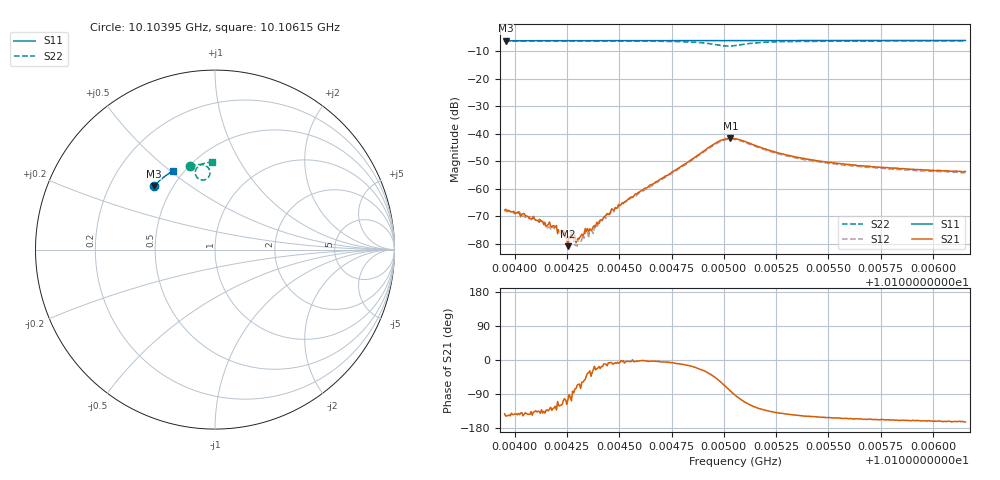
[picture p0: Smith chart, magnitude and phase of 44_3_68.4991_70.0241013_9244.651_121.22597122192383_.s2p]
#  HZ  S  RI  R  50.00
! Rohde & Schwarz Vector Network Analyzer
! Rohde-Schwarz,ZNB20-2Port,1311601062101988,3.16
! Created: UTC 3/20/2024, 4:50:34 PM
! freq[Hz]  re:S11  im:S11  re:S21  im:S21  re:S12  im:S12  re:S22  im:S22
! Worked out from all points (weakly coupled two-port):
!   401 points, 10.10395 GHz to 10.10615 GHz, reference 50 ohm
!   highest |S21| = -41.66 dB at 10.10503 GHz (marker M1); lowest = -80.9 dB at 10.10426 GHz (marker M2)
!   lowest |S11| = -6.2 dB at 10.10396 GHz (marker M3), VSWR 2.93, Z = 19.7 + j18.4 ohm
!   |S11| at or under -10 dB: nowhere
!   |S22| runs from -8.1 to -6.2 dB; largest |S21 - S12| = 0.00084
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1.0103953e10  -0.3405 0.354  -0.000323 -0.000252  -0.00029 -0.000261  -0.1379 0.4633
1.0103958e10  -0.3401 0.3543  -0.000357 -0.000222  -0.000299 -0.000258  -0.1375 0.4636
1.0104112e10  -0.3337 0.3611  -0.000183 -0.000185  -0.000208 -0.000171  -0.1266 0.4669
1.0104162e10  -0.3316 0.3632  -0.000158 -0.000161  -0.000114 -0.000165  -0.123 0.4679
1.0104189e10  -0.3303 0.3644  -0.000125 -0.000169  -8.98e-05 -0.000163  -0.121 0.4686
1.0104239e10  -0.3281 0.3666  -3.35e-05 -0.000155  -5.51e-05 -0.000123  -0.1172 0.4695
1.0104255e10  -0.3274 0.3672  -2.27e-05 -8.7e-05  -6.31e-06 -0.000146  -0.1157 0.4699
1.0104277e10  -0.3264 0.3681  1.78e-05 -0.000132  2.75e-05 -0.000129  -0.1142 0.4702
1.0104294e10  -0.3258 0.3689  2.59e-05 -0.0001  1.48e-06 -9.31e-05  -0.1127 0.4706
1.0104321e10  -0.3245 0.3702  7.66e-05 -0.000128  6.83e-05 -9.6e-05  -0.1105 0.471
1.0104338e10  -0.3237 0.3707  0.000118 -0.000146  0.000127 -9.28e-05  -0.1092 0.4713
1.0104365e10  -0.3225 0.3718  0.000128 -0.000119  0.00017 -5.67e-05  -0.107 0.4717
1.0104415e10  -0.3204 0.3739  0.000256 -7.85e-05  0.00027 -4.8e-05  -0.1026 0.4725
1.0104492e10  -0.3168 0.3771  0.000453 -4.47e-05  0.000443 1.06e-05  -0.0954 0.4736
1.010469e10  -0.3079 0.3851  0.00143 -8.85e-05  0.00138 2.4e-05  -0.0725 0.4738
1.010496e10  -0.295 0.3955  0.00462 -0.00486  0.00482 -0.00427  -0.0298 0.4165
1.0105031e10  -0.2918 0.3978  0.00119 -0.00817  0.00187 -0.00769  -0.0711 0.3874
1.0105053e10  -0.2908 0.3986  -0.000323 -0.00811  0.00035 -0.0078  -0.0872 0.3915
1.010524e10  -0.2823 0.4059  -0.00347 -0.00316  -0.00305 -0.00332  -0.1002 0.4564
1.0105422e10  -0.2733 0.4125  -0.00285 -0.0017  -0.00259 -0.00186  -0.0787 0.4732
1.0105791e10  -0.2551 0.4253  -0.00221 -0.000897  -0.00201 -0.00103  -0.0462 0.4834
1.0106154e10  -0.2363 0.4369  -0.00196 -0.000584  -0.00181 -0.000747  -0.0195 0.4874
